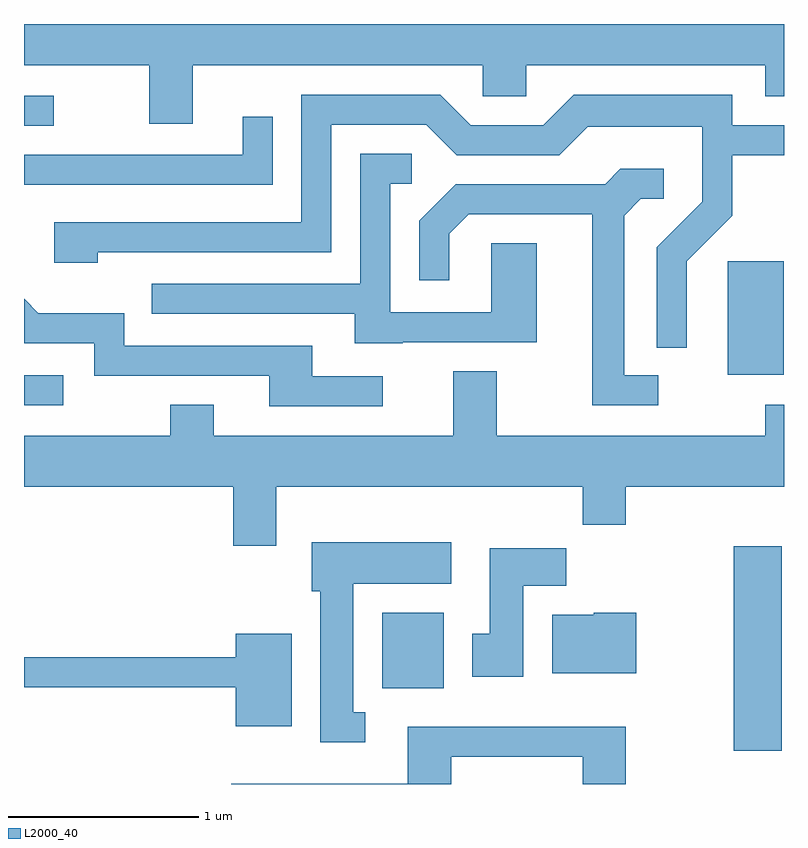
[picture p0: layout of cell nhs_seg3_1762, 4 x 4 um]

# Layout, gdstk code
import gdstk
lib = gdstk.Library(unit=1e-6, precision=1e-09)
def R(c, l, rs):  # rectangles x0, y0, x1, y1
    for r in rs: c.add(gdstk.rectangle(r[:2], r[2:], *l))
def P(c, l, *ps):  # polygons
    for p in ps: c.add(gdstk.Polygon(p, *l))
L2000_40 = (2000, 40)

nhs_seg3_1762 = lib.new_cell('nhs_seg3_1762')
R(nhs_seg3_1762, L2000_40, [(239.346,1240.066,239.599,1241.144), (237.496,1240.396,237.819,1240.794), (235.611,1241.886,235.818,1242.044), (239.316,1242.046,239.609,1242.644), (235.611,1243.356,235.768,1243.514)])
P(nhs_seg3_1762, L2000_40, [(236.499,1243.676),(238.026,1243.676),(238.026,1243.511),(238.254,1243.511),(238.254,1243.676),(239.511,1243.676),(239.511,1243.511),(239.611,1243.511),(239.611,1243.892),(235.611,1243.892),(235.611,1243.676),(236.271,1243.676),(236.271,1243.366),(236.499,1243.366)],
  [(239.099,1242.644),(239.339,1242.884),(239.339,1243.201),(239.611,1243.201),(239.611,1243.359),(239.339,1243.359),(239.339,1243.519),(238.504,1243.519),(238.344,1243.359),(237.962,1243.359),(237.802,1243.519),(237.071,1243.519),(237.071,1242.849),(235.771,1242.849),(235.771,1242.636),(235.999,1242.636),(235.999,1242.691),(237.229,1242.691),(237.229,1243.361),(237.729,1243.361),(237.889,1243.201),(238.427,1243.201),(238.577,1243.351),(239.181,1243.351),(239.181,1242.957),(238.941,1242.717),(238.941,1242.188),(239.099,1242.188)],
  [(236.919,1243.403),(236.761,1243.403),(236.761,1243.204),(235.611,1243.204),(235.611,1243.046),(236.919,1243.046)],
  [(237.605,1242.216),(238.309,1242.216),(238.309,1242.739),(238.071,1242.739),(238.071,1242.374),(237.539,1242.374),(237.539,1243.051),(237.653,1243.051),(237.653,1243.209),(237.381,1243.209),(237.381,1242.524),(236.283,1242.524),(236.283,1242.366),(237.351,1242.366),(237.351,1242.211),(237.605,1242.211)],
  [(238.948,1242.044),(238.769,1242.044),(238.769,1242.884),(238.857,1242.971),(238.978,1242.971),(238.978,1243.129),(238.749,1243.129),(238.669,1243.049),(237.884,1243.049),(237.691,1242.857),(237.691,1242.543),(237.849,1242.543),(237.849,1242.789),(237.952,1242.891),(238.601,1242.891),(238.601,1241.886),(238.948,1241.886)],
  [(237.498,1242.039),(237.129,1242.039),(237.129,1242.199),(236.139,1242.199),(236.139,1242.369),(235.687,1242.369),(235.611,1242.445),(235.611,1242.211),(235.981,1242.211),(235.981,1242.041),(236.901,1242.041),(236.901,1241.881),(237.498,1241.881)],
  [(236.939,1241.456),(238.551,1241.456),(238.551,1241.256),(238.779,1241.256),(238.779,1241.456),(239.611,1241.456),(239.611,1241.889),(239.511,1241.889),(239.511,1241.724),(238.099,1241.724),(238.099,1242.064),(237.871,1242.064),(237.871,1241.724),(236.609,1241.724),(236.609,1241.889),(236.381,1241.889),(236.381,1241.724),(235.611,1241.724),(235.611,1241.456),(236.711,1241.456),(236.711,1241.146),(236.939,1241.146)],
  [(237.408,1240.269),(237.344,1240.269),(237.344,1240.946),(237.859,1240.946),(237.859,1241.164),(237.126,1241.164),(237.126,1240.906),(237.171,1240.906),(237.171,1240.111),(237.408,1240.111)],
  [(238.239,1240.936),(238.464,1240.936),(238.464,1241.134),(238.061,1241.134),(238.061,1240.684),(237.971,1240.684),(237.971,1240.456),(238.239,1240.456)],
  [(238.834,1240.794),(238.61,1240.794),(238.61,1240.784),(238.391,1240.784),(238.391,1240.476),(238.834,1240.476)],
  [(237.019,1240.684),(236.726,1240.684),(236.726,1240.559),(235.611,1240.559),(235.611,1240.401),(236.726,1240.401),(236.726,1240.196),(237.019,1240.196)],
  [(237.859,1240.036),(238.551,1240.036),(238.551,1239.892),(238.779,1239.892),(238.779,1240.194),(237.631,1240.194),(237.631,1239.894),(236.703,1239.894),(236.703,1239.892),(237.859,1239.892)])

lib.write_gds('nhs_seg3_1762.gds')
